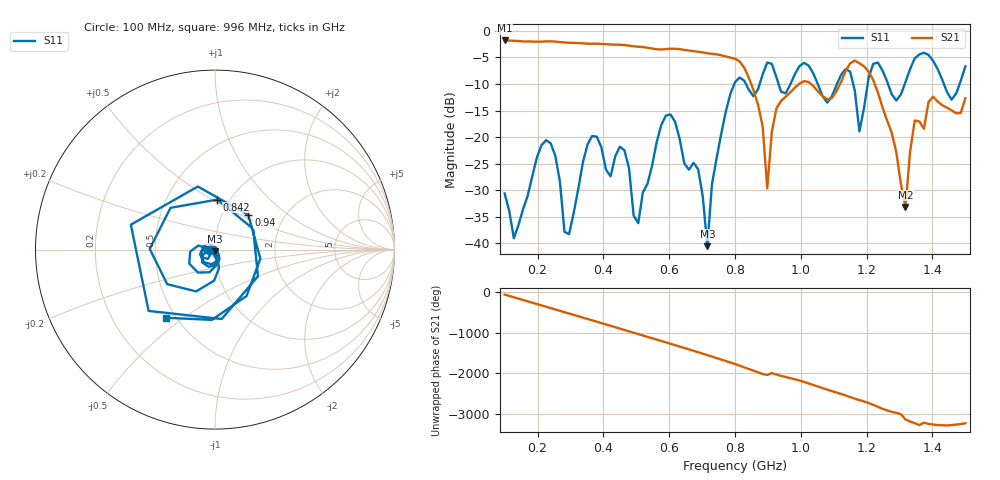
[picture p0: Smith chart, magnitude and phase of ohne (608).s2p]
! NanoVNA-App
! Date: 2025-09-25 14:25:32
! Start: 100MHz Stop: 1,5GHz Points: 101
! S-Parameter data: F S11 S21 S12 S22
# Hz S RI R 50
!  Frequency  S11_Real  S11_Imag  S21_Real  S21_Imag  S12_Real  S12_Imag  S22_Real  S22_Imag
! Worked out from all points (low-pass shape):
!   101 points, 100 MHz to 1.5 GHz, reference 50 ohm
!   highest |S21| = -1.79 dB at 100 MHz (marker M1); lowest = -33.2 dB at 1.318 GHz (marker M2)
!   |S21| within 3 dB of the highest: start of sweep to 771 MHz
!   lowest |S11| = -40.6 dB at 716 MHz (marker M3), VSWR 1.02, Z = 49.9 - j0.924 ohm
!   |S11| at or under -10 dB: start of sweep to 797.9 MHz; 833.1 MHz to 875 MHz (41.93 MHz wide, 4.91 % of centre); 1.051 GHz to 1.11 GHz (58.51 MHz wide, 5.41 % of centre) (the widest 3 of 7)
!   S12 and S22 are empty: the file has one direction only
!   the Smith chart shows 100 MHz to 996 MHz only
!   S11 on the Smith chart (normalised r, x): 100 MHz: 0.94, -0.01; 842 MHz: 0.88, +0.53; 940 MHz: 1.33, +0.55; 996 MHz: 0.44, -0.43
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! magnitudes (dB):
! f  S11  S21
! 100 MHz  -30.6  -1.8
! 128 MHz  -39.1  -1.9
! 226 MHz  -20.6  -2.0
! 296 MHz  -38.3  -2.2
! 338 MHz  -24.7  -2.3
! 464 MHz  -22.5  -2.7
! 506 MHz  -36.2  -3.0
! 576 MHz  -17.7  -3.5
! 688 MHz  -26.1  -3.9
! 716 MHz  -40.6  -4.2
! 800 MHz  -9.7  -5.2
! 842 MHz  -11.1  -8.8
! 898 MHz  -6.0  -29.7
! 940 MHz  -11.4  -13.2
! 996 MHz  -6.6  -9.9
! 1.038 GHz  -8.0  -10.4
! 1.178 GHz  -18.9  -6.1
! 1.22 GHz  -6.2  -9.3
! 1.276 GHz  -11.9  -19.2
! 1.318 GHz  -9.6  -33.2
! 1.346 GHz  -5.2  -16.9
! 1.5 GHz  -6.7  -12.7
